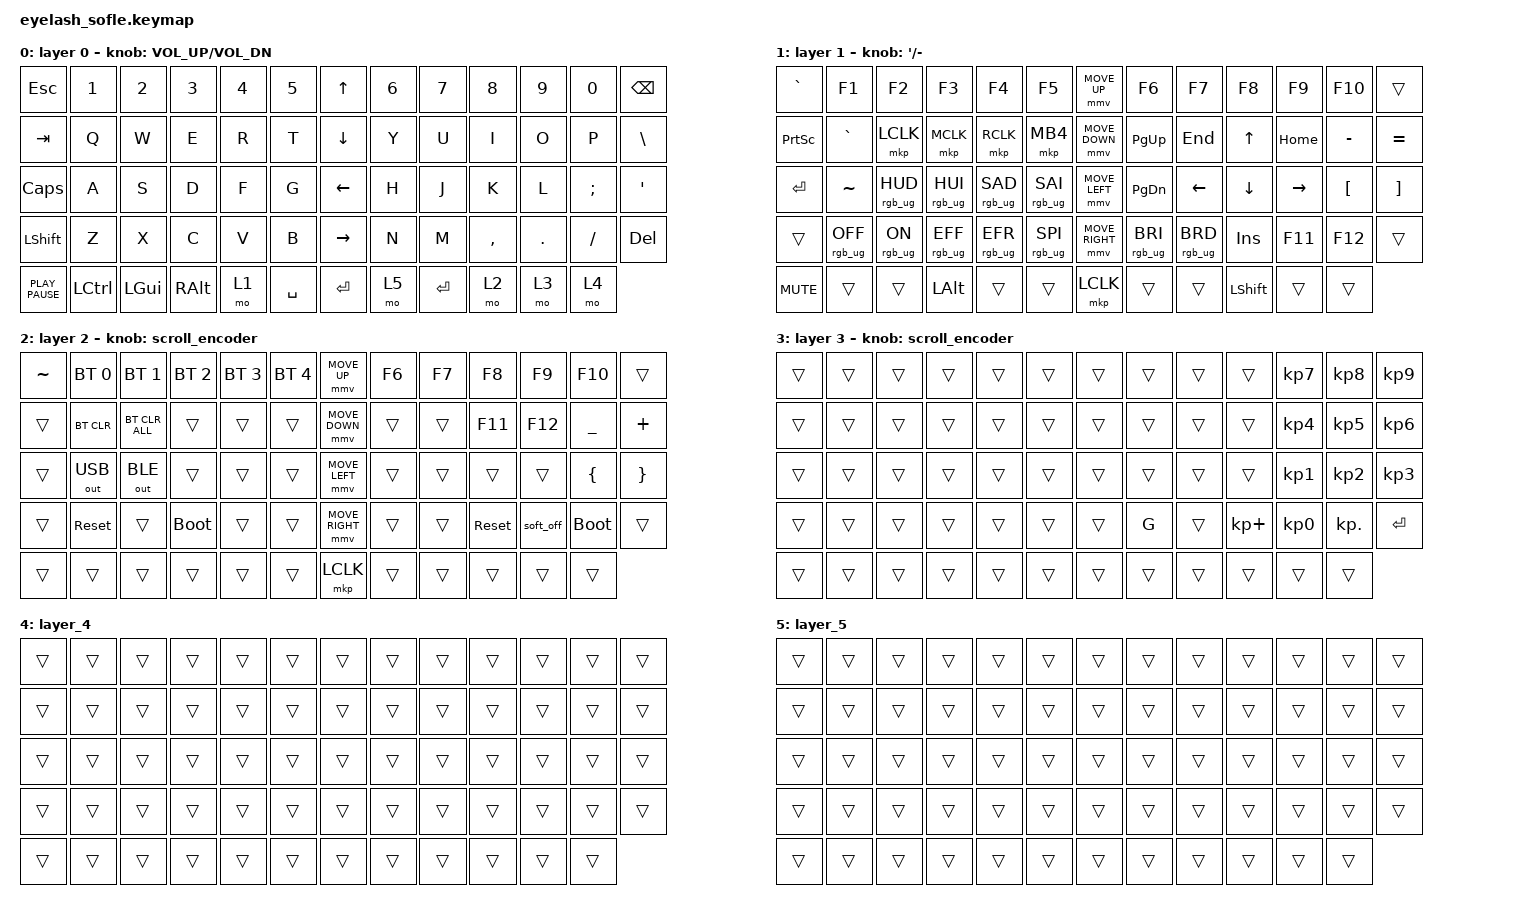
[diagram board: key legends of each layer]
#define ZMK_POINTING_DEFAULT_MOVE_VAL 1200  // 600
#define ZMK_POINTING_DEFAULT_SCRL_VAL 35    // 10

#include <input/processors.dtsi>
#include <zephyr/dt-bindings/input/input-event-codes.h>
#include <behaviors.dtsi>
#include <dt-bindings/zmk/bt.h>
#include <dt-bindings/zmk/keys.h>
#include <dt-bindings/zmk/outputs.h>
#include <dt-bindings/zmk/pointing.h>
#include <dt-bindings/zmk/rgb.h>

/ {
    zip_scroll_scaler: zip_scroll_scaler {
        compatible = "zmk,input-processor-scaler";
        #input-processor-cells = <2>;
        type = <INPUT_EV_REL>;
        codes = <INPUT_REL_WHEEL INPUT_REL_HWHEEL>;
        track-remainders;
    };
};

&mmv_input_listener { input-processors = <&zip_xy_scaler 2 1>; };

&msc_input_listener { input-processors = <&zip_scroll_scaler 2 1>; };

&msc {
    acceleration-exponent = <0>;      // 0
    time-to-max-speed-ms = <0>;       // 300
    delay-ms = <0>;                   // 0
};

&mmv {
    time-to-max-speed-ms = <400>;
    acceleration-exponent = <1>;
};

/ {
    scroll_encoder: scroll_encoder {
        compatible = "zmk,behavior-sensor-rotate";
        #sensor-binding-cells = <0>;
        bindings = <&msc SCRL_DOWN>, <&msc SCRL_UP>;

        tap-ms = <30>;
    };

    behaviors {
    };

    keymap {
        compatible = "zmk,keymap";

        layer_0 {
            bindings = <
&kp ESC           &kp N1     &kp N2        &kp N3         &kp N4  &kp N5       &kp UP_ARROW     &kp N6  &kp N7     &kp N8     &kp N9   &kp N0    &kp BACKSPACE
&kp TAB           &kp Q      &kp W         &kp E          &kp R   &kp T        &kp DOWN_ARROW   &kp Y   &kp U      &kp I      &kp O    &kp P     &kp BSLH
&kp CAPS          &kp A      &kp S         &kp D          &kp F   &kp G        &kp LEFT_ARROW   &kp H   &kp J      &kp K      &kp L    &kp SEMI  &kp APOS
&kp LSHFT         &kp Z      &kp X         &kp C          &kp V   &kp B        &kp RIGHT_ARROW  &kp N   &kp M      &kp COMMA  &kp DOT  &kp FSLH  &kp DEL
&kp K_PLAY_PAUSE  &kp LCTRL  &kp LEFT_GUI  &kp RIGHT_ALT  &mo 1   &kp SPACE    &kp ENTER        &mo 5   &kp ENTER  &mo 2      &mo 3    &mo 4
            >;

            sensor-bindings = <&inc_dec_kp C_VOLUME_UP C_VOL_DN>;
            display-name = "layer 0";
        };

        layer_1 {
            bindings = <
&kp GRAVE        &kp F1           &kp F2           &kp F3           &kp F4           &kp F5             &mmv MOVE_UP     &kp F6           &kp F7           &kp F8          &kp F9     &kp F10           &trans
&kp PRINTSCREEN  &kp GRAVE        &mkp LCLK        &mkp MCLK        &mkp RCLK        &mkp MB4           &mmv MOVE_DOWN   &kp PG_UP        &kp END          &kp UP          &kp HOME   &kp MINUS         &kp EQUAL
&kp ENTER        &kp TILDE        &rgb_ug RGB_HUD  &rgb_ug RGB_HUI  &rgb_ug RGB_SAD  &rgb_ug RGB_SAI    &mmv MOVE_LEFT   &kp PG_DN        &kp LEFT         &kp DOWN        &kp RIGHT  &kp LEFT_BRACKET  &kp RIGHT_BRACKET
&trans           &rgb_ug RGB_OFF  &rgb_ug RGB_ON   &rgb_ug RGB_EFF  &rgb_ug RGB_EFR  &rgb_ug RGB_SPI    &mmv MOVE_RIGHT  &rgb_ug RGB_BRI  &rgb_ug RGB_BRD  &kp INSERT      &kp F11    &kp F12           &trans
&kp C_MUTE       &trans           &trans           &kp LEFT_ALT     &trans           &trans             &mkp LCLK        &trans           &trans           &kp LEFT_SHIFT  &trans     &trans
            >;

            display-name = "layer 1";
            sensor-bindings = <&inc_dec_kp SQT MINUS>;
        };

        layer_2 {
            bindings = <
&kp TILDE  &bt BT_SEL 0  &bt BT_SEL 1    &bt BT_SEL 2  &bt BT_SEL 3  &bt BT_SEL 4    &mmv MOVE_UP     &kp F6  &kp F7  &kp F8      &kp F9     &kp F10      &trans
&trans     &bt BT_CLR    &bt BT_CLR_ALL  &trans        &trans        &trans          &mmv MOVE_DOWN   &trans  &trans  &kp F11     &kp F12    &kp UNDER    &kp PLUS
&trans     &out OUT_USB  &out OUT_BLE    &trans        &trans        &trans          &mmv MOVE_LEFT   &trans  &trans  &trans      &trans     &kp LBRC     &kp RBRC
&trans     &sys_reset    &trans          &bootloader   &trans        &trans          &mmv MOVE_RIGHT  &trans  &trans  &sys_reset  &soft_off  &bootloader  &trans
&trans     &trans        &trans          &trans        &trans        &trans          &mkp LCLK        &trans  &trans  &trans      &trans     &trans
            >;

            sensor-bindings = <&scroll_encoder>;
            label = "layer 2";
        };

        layer_3 {
            bindings = <
&trans  &trans  &trans  &trans  &trans  &trans    &trans  &trans  &trans  &trans       &kp KP_NUMBER_7  &kp KP_NUMBER_8  &kp KP_NUMBER_9
&trans  &trans  &trans  &trans  &trans  &trans    &trans  &trans  &trans  &trans       &kp KP_NUMBER_4  &kp KP_NUMBER_5  &kp KP_NUMBER_6
&trans  &trans  &trans  &trans  &trans  &trans    &trans  &trans  &trans  &trans       &kp KP_NUMBER_1  &kp KP_NUMBER_2  &kp KP_NUMBER_3
&trans  &trans  &trans  &trans  &trans  &trans    &trans  &kp G   &trans  &kp KP_PLUS  &kp KP_NUMBER_0  &kp KP_DOT       &kp ENTER
&trans  &trans  &trans  &trans  &trans  &trans    &trans  &trans  &trans  &trans       &trans           &trans
            >;

            label = "layer 3";
            sensor-bindings = <&scroll_encoder>;
        };

        layer_4 {
            bindings = <
&trans  &trans  &trans  &trans  &trans  &trans    &trans  &trans  &trans  &trans  &trans  &trans  &trans
&trans  &trans  &trans  &trans  &trans  &trans    &trans  &trans  &trans  &trans  &trans  &trans  &trans
&trans  &trans  &trans  &trans  &trans  &trans    &trans  &trans  &trans  &trans  &trans  &trans  &trans
&trans  &trans  &trans  &trans  &trans  &trans    &trans  &trans  &trans  &trans  &trans  &trans  &trans
&trans  &trans  &trans  &trans  &trans  &trans    &trans  &trans  &trans  &trans  &trans  &trans
            >;
        };

        layer_5 {
            bindings = <
&trans  &trans  &trans  &trans  &trans  &trans    &trans  &trans  &trans  &trans  &trans  &trans  &trans
&trans  &trans  &trans  &trans  &trans  &trans    &trans  &trans  &trans  &trans  &trans  &trans  &trans
&trans  &trans  &trans  &trans  &trans  &trans    &trans  &trans  &trans  &trans  &trans  &trans  &trans
&trans  &trans  &trans  &trans  &trans  &trans    &trans  &trans  &trans  &trans  &trans  &trans  &trans
&trans  &trans  &trans  &trans  &trans  &trans    &trans  &trans  &trans  &trans  &trans  &trans
            >;
        };
    };
};
